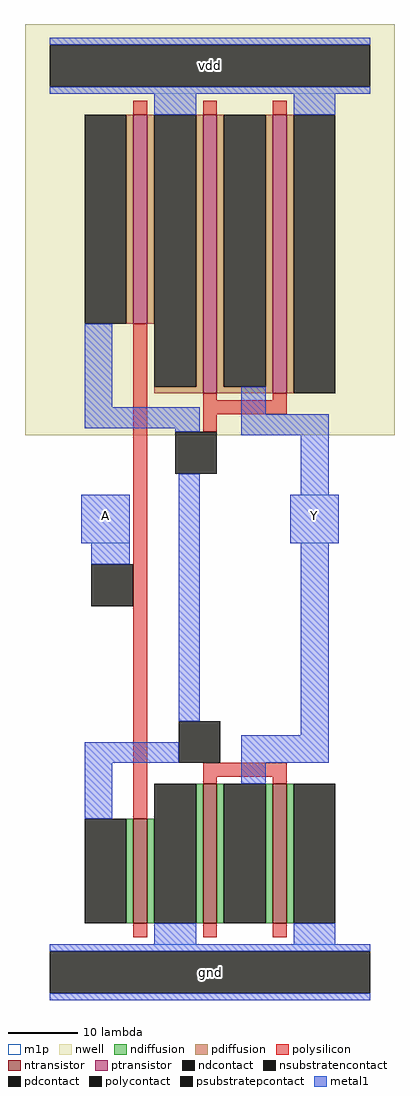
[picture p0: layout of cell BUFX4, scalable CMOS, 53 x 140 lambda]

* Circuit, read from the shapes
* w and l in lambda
.subckt BUFX4 A Y vdd gnd
M1 gnd A n1 gnd nfet w=15 l=2
M2 Y n1 gnd gnd nfet w=20 l=2 m=2
M3 vdd A n1 vdd pfet w=30 l=2
M4 Y n1 vdd vdd pfet w=40 l=2 m=2
.ends

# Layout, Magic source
magic
tech scmos
magscale 1 2
<< nwell >>
rect -13 154 93 272
<< ntransistor >>
rect 18 14 22 44
rect 38 14 42 54
rect 58 14 62 54
<< ptransistor >>
rect 18 186 22 246
rect 38 166 42 246
rect 58 166 62 246
<< ndiffusion >>
rect 16 14 18 44
rect 22 14 24 44
rect 36 14 38 54
rect 42 14 44 54
rect 56 14 58 54
rect 62 14 64 54
<< pdiffusion >>
rect 16 186 18 246
rect 22 186 24 246
rect 36 168 38 246
rect 24 166 38 168
rect 42 168 44 246
rect 56 168 58 246
rect 42 166 58 168
rect 62 166 64 246
<< ndcontact >>
rect 4 14 16 44
rect 24 14 36 54
rect 44 14 56 54
rect 64 14 76 54
<< pdcontact >>
rect 4 186 16 246
rect 24 168 36 246
rect 44 168 56 246
rect 64 166 76 246
<< psubstratepcontact >>
rect -6 -6 86 6
<< nsubstratencontact >>
rect -6 254 86 266
<< polysilicon >>
rect 18 246 22 250
rect 38 246 42 250
rect 58 246 62 250
rect 18 44 22 186
rect 38 164 42 166
rect 58 164 62 166
rect 38 160 62 164
rect 38 155 42 160
rect 38 56 62 60
rect 38 54 42 56
rect 58 54 62 56
rect 18 10 22 14
rect 38 10 42 14
rect 58 10 62 14
<< polycontact >>
rect 6 105 18 117
rect 30 143 42 155
rect 31 60 43 72
<< metal1 >>
rect -6 266 86 268
rect -6 252 86 254
rect 24 246 36 252
rect 64 246 76 252
rect 4 162 12 186
rect 4 156 37 162
rect 30 155 37 156
rect 49 160 56 168
rect 49 154 74 160
rect 3 123 17 137
rect 6 117 17 123
rect 31 72 37 143
rect 66 137 74 154
rect 63 123 77 137
rect 4 60 31 66
rect 66 68 74 123
rect 49 60 74 68
rect 4 44 12 60
rect 49 54 56 60
rect 24 8 36 14
rect 64 8 76 14
rect -6 6 86 8
rect -6 -8 86 -6
<< m1p >>
rect -6 252 86 268
rect 3 123 17 137
rect 63 123 77 137
rect -6 -8 86 8
<< labels >>
rlabel nsubstratencontact 40 260 40 260 0 vdd
port 3 nsew power bidirectional abutment
rlabel psubstratepcontact 40 0 40 0 0 gnd
port 4 nsew ground bidirectional abutment
rlabel metal1 10 131 10 131 0 A
port 1 nsew signal input
rlabel metal1 70 131 70 131 0 Y
port 2 nsew signal output
<< properties >>
string FIXED_BBOX 0 0 80 260
string LEFclass CORE
string LEFsite core
string LEFsymmetry X Y
<< end >>
